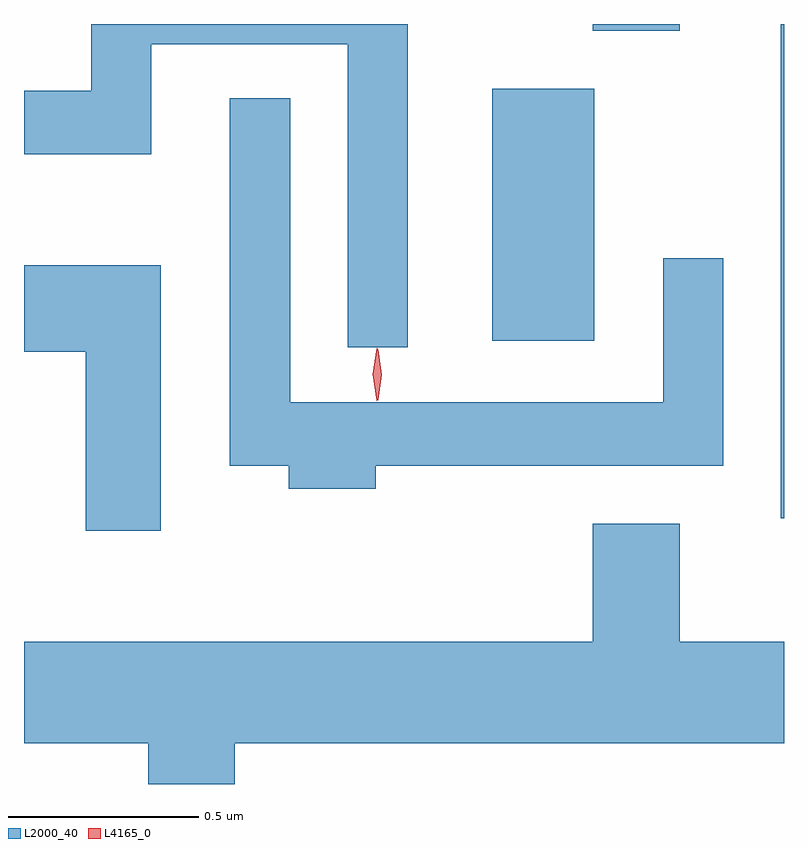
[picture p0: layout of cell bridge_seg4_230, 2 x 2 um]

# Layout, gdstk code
import gdstk
lib = gdstk.Library(unit=1e-6, precision=1e-09)
def R(c, l, rs):  # rectangles x0, y0, x1, y1
    for r in rs: c.add(gdstk.rectangle(r[:2], r[2:], *l))
def P(c, l, *ps):  # polygons
    for p in ps: c.add(gdstk.Polygon(p, *l))
L2000_40 = (2000, 40)
L4165_0 = (4165, 0)

bridge_seg4_230 = lib.new_cell('bridge_seg4_230')
R(bridge_seg4_230, L2000_40, [(1085.516,1255.368,1085.524,1256.669), (1084.756,1255.836,1085.024,1256.499), (1085.021,1256.651,1085.249,1256.669)])
P(bridge_seg4_230, L2000_40, [(1084.534,1256.669),(1083.701,1256.669),(1083.701,1256.494),(1083.524,1256.494),(1083.524,1256.326),(1083.859,1256.326),(1083.859,1256.616),(1084.376,1256.616),(1084.376,1255.818),(1084.534,1255.818)],
  [(1084.449,1255.506),(1085.364,1255.506),(1085.364,1256.053),(1085.206,1256.053),(1085.206,1255.674),(1084.224,1255.674),(1084.224,1256.473),(1084.066,1256.473),(1084.066,1255.506),(1084.221,1255.506),(1084.221,1255.446),(1084.449,1255.446)],
  [(1083.884,1256.034),(1083.524,1256.034),(1083.524,1255.806),(1083.686,1255.806),(1083.686,1255.336),(1083.884,1255.336)],
  [(1084.079,1254.776),(1085.524,1254.776),(1085.524,1255.044),(1085.249,1255.044),(1085.249,1255.354),(1085.021,1255.354),(1085.021,1255.044),(1083.524,1255.044),(1083.524,1254.776),(1083.851,1254.776),(1083.851,1254.669),(1084.079,1254.669)])
P(bridge_seg4_230, L4165_0, [(1084.452,1255.677),(1084.452,1255.677),(1084.442,1255.747),(1084.452,1255.816),(1084.452,1255.816),(1084.453,1255.816),(1084.462,1255.747),(1084.453,1255.677)],
  [(1084.456,1255.679),(1084.455,1255.68),(1084.446,1255.746),(1084.455,1255.812),(1084.455,1255.813),(1084.456,1255.812),(1084.465,1255.746),(1084.456,1255.68)])

lib.write_gds('bridge_seg4_230.gds')
